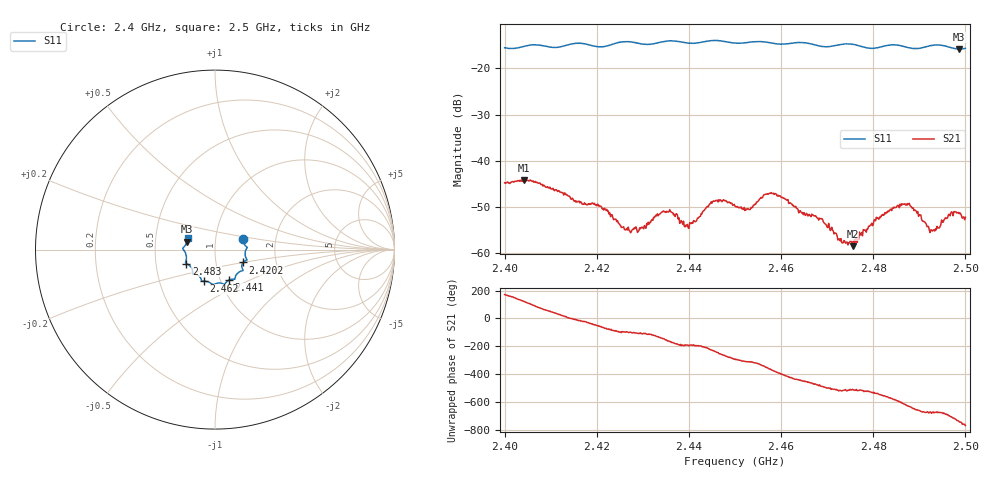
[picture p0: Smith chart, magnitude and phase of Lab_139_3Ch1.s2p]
# Hz S RI R 50
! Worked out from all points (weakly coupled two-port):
!   601 points, 2.4 GHz to 2.5 GHz, reference 50 ohm
!   highest |S21| = -44.10 dB at 2.4042 GHz (marker M1); lowest = -58.4 dB at 2.4755 GHz (marker M2)
!   lowest |S11| = -15.8 dB at 2.4987 GHz (marker M3), VSWR 1.39, Z = 36.4 + j3.27 ohm
!   |S11| at or under -10 dB: start of sweep to end of sweep
!   S12 and S22 are empty: the file has one direction only
!   S11 on the Smith chart (normalised r, x): 2.4 GHz: 1.36, +0.17; 2.4202 GHz: 1.35, -0.20; 2.441 GHz: 1.09, -0.39; 2.462 GHz: 0.83, -0.30; 2.483 GHz: 0.72, -0.12; 2.5 GHz: 0.73, +0.09
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2.4e9  0.1562 0.0602  -0.00574 0.000842  0 0  0 0
2.404167e9  0.1722 0.019  -0.00331 0.00529  0 0  0 0
2.416667e9  0.1776 -0.0584  0.00337 -0.00109  0 0  0 0
2.420167e9  0.1561 -0.0718  0.00206 -0.00272  0 0  0 0
2.427167e9  0.1553 -0.1169  -0.000267 -0.00173  0 0  0 0
2.433333e9  0.113 -0.1523  -0.00166 -0.00194  0 0  0 0
2.4395e9  0.0913 -0.1654  -0.00194 0.000383  0 0  0 0
2.441e9  0.0768 -0.1706  -0.00223 0.000368  0 0  0 0
2.445333e9  0.0533 -0.1935  -0.00227 0.00292  0 0  0 0
2.45e9  0.0267 -0.1862  0.00116 0.00303  0 0  0 0
2.453333e9  -0.00229 -0.1928  0.00203 0.00221  0 0  0 0
2.457833e9  -0.0239 -0.1872  0.00451 -0.000582  0 0  0 0
2.462e9  -0.0619 -0.1762  0.00145 -0.00319  0 0  0 0
2.466667e9  -0.0766 -0.1668  -0.000599 -0.00259  0 0  0 0
2.472833e9  -0.1199 -0.136  -0.00124 -0.000578  0 0  0 0
2.4755e9  -0.1254 -0.1331  -0.00102 -0.000627  0 0  0 0
2.483e9  -0.1592 -0.0781  -0.00257 0.000996  0 0  0 0
2.483333e9  -0.1609 -0.0773  -0.00254 0.00123  0 0  0 0
2.487667e9  -0.1594 -0.0518  7.9e-06 0.00341  0 0  0 0
2.492833e9  -0.1779 0.00249  0.00119 0.00128  0 0  0 0
2.498667e9  -0.1561 0.0438  0.0025 -0.000985  0 0  0 0
2.5e9  -0.153 0.0624  0.00165 -0.00181  0 0  0 0
